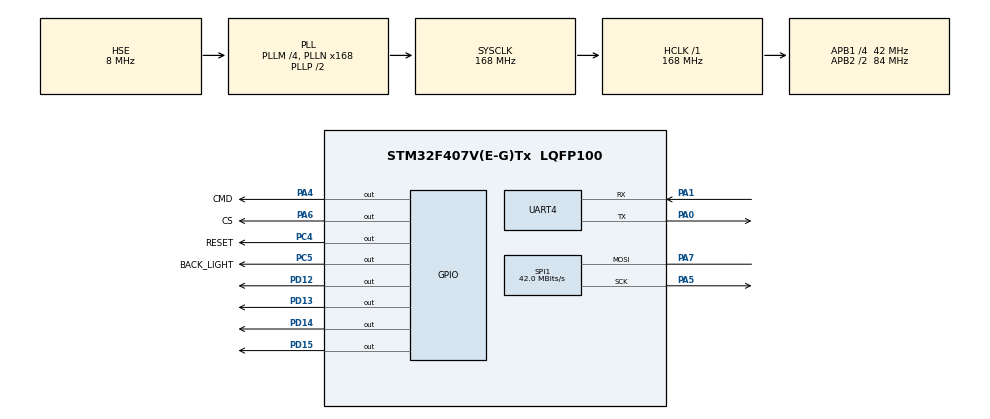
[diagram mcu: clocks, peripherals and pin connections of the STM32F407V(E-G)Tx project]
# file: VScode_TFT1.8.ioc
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Mcu.Family=STM32F4
Mcu.Name=STM32F407V(E-G)Tx
Mcu.Package=LQFP100
NVIC.PriorityGroup=NVIC_PRIORITYGROUP_4
PA0-WKUP.Mode=Asynchronous
PA0-WKUP.Signal=UART4_TX
PA1.Mode=Asynchronous
PA1.Signal=UART4_RX
PA13.Mode=Serial_Wire
PA13.Signal=SYS_JTMS-SWDIO
PA14.Mode=Serial_Wire
PA14.Signal=SYS_JTCK-SWCLK
PA4.GPIO_Label=CMD
PA4.GPIO_Speed=GPIO_SPEED_FREQ_LOW
PA4.Signal=GPIO_Output
PA5.Mode=Simplex_Bidirectional_Master
PA5.Signal=SPI1_SCK
PA6.GPIO_Label=CS
PA6.GPIO_Speed=GPIO_SPEED_FREQ_LOW
PA6.Signal=GPIO_Output
PA7.Mode=Simplex_Bidirectional_Master
PA7.Signal=SPI1_MOSI
PC4.GPIO_Label=RESET
PC4.Signal=GPIO_Output
PC5.GPIO_Label=BACK_LIGHT
PC5.Signal=GPIO_Output
PD12.Signal=GPIO_Output
PD13.Signal=GPIO_Output
PD14.Signal=GPIO_Output
PD15.Signal=GPIO_Output
PH0-OSC_IN.Mode=HSE-External-Oscillator
PH0-OSC_IN.Signal=RCC_OSC_IN
PH1-OSC_OUT.Mode=HSE-External-Oscillator
PH1-OSC_OUT.Signal=RCC_OSC_OUT
ProjectManager.HeapSize=0x200
ProjectManager.StackSize=0x400
ProjectManager.TargetToolchain=CMake
RCC.48MHZClocksFreq_Value=84000000
RCC.AHBFreq_Value=168000000
RCC.APB1CLKDivider=RCC_HCLK_DIV4
RCC.APB1Freq_Value=42000000
RCC.APB1TimFreq_Value=84000000
RCC.APB2CLKDivider=RCC_HCLK_DIV2
RCC.APB2Freq_Value=84000000
RCC.APB2TimFreq_Value=168000000
RCC.CortexFreq_Value=168000000
RCC.HCLKFreq_Value=168000000
RCC.HSE_VALUE=8000000
RCC.HSI_VALUE=16000000
RCC.LSE_VALUE=32768
RCC.PLLM=4
RCC.PLLN=168
RCC.PLLSourceVirtual=RCC_PLLSOURCE_HSE
RCC.SYSCLKFreq_VALUE=168000000
RCC.SYSCLKSource=RCC_SYSCLKSOURCE_PLLCLK
RCC.VCOOutputFreq_Value=336000000
SPI1.BaudRatePrescaler=SPI_BAUDRATEPRESCALER_2
SPI1.CalculateBaudRate=42.0 MBits/s
SPI1.Direction=SPI_DIRECTION_1LINE
SPI1.Mode=SPI_MODE_MASTER
SPI1.VirtualType=VM_MASTER
UART4.VirtualMode=Asynchronous
board=custom

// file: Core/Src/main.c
/* USER CODE BEGIN Header */
/**
  ******************************************************************************
  * @file           : main.c
  * @brief          : Main program body
  ******************************************************************************
  * @attention
  *
  * Copyright (c) 2024 STMicroelectronics.
  * All rights reserved.
  *
  * This software is licensed under terms that can be found in the LICENSE file
  * in the root directory of this software component.
  * If no LICENSE file comes with this software, it is provided AS-IS.
  *
  ******************************************************************************
  */
/* USER CODE END Header */
#include "main.h"
#include "lv_examples.h"

/* USER CODE BEGIN PD */
#define BYTE_PER_PIXEL (LV_COLOR_FORMAT_GET_SIZE(LV_COLOR_FORMAT_RGB888))
/* USER CODE END PD */

SPI_HandleTypeDef hspi1;

UART_HandleTypeDef huart4;

void SystemClock_Config(void);
static void MX_GPIO_Init(void);
static void MX_SPI1_Init(void);
static void MX_UART4_Init(void);
/* USER CODE BEGIN PFP */
void my_disp_flush(lv_display_t * disp, const lv_area_t * area, lv_color_t * color_p);
void lv_example_get_started_1(void);
/* USER CODE END PFP */

/* USER CODE BEGIN 0 */

 uint8_t color[PIC_SIZE];

 void my_disp_flush(lv_display_t * disp, const lv_area_t * area, lv_color_t * color_p) {

    uint32_t x, y;

    /*It's a very slow but simple implementation.
     *`set_pixel` needs to be written by you to a set pixel on the screen*/
    for(y = area->y1; y <= area->y2; y++) {
        for(x = area->x1; x <= area->x2; x++) {
            set_pixel(x, y, (uint8_t*)color_p);
            color_p++;
        }
    }

    lv_display_flush_ready(disp);         /* Indicate you are ready with the flushing*/
}

void lv_example_get_started_1(void)
{
    /*Change the active screen's background color*/
    lv_obj_set_style_bg_color(lv_screen_active(), lv_color_hex(0x573a00), LV_PART_MAIN);

    /*Create a white label, set its text and align it to the center*/
    lv_obj_t * label = lv_label_create(lv_screen_active());
    lv_label_set_text(label, "Hello world");
    lv_obj_set_style_text_color(lv_screen_active(), lv_color_hex(0xffffff), LV_PART_MAIN);
    lv_obj_align(label, LV_ALIGN_CENTER, 0, 0);
}

void lv_example_get_started_4(void)
{
    /*Create a slider in the center of the display*/
    lv_obj_t * label = lv_label_create(lv_screen_active());
    lv_obj_t * slider = lv_slider_create(lv_screen_active());
    lv_obj_set_width(slider, 100);                          /*Set the width*/
    lv_obj_center(slider);                                  /*Align to the center of the parent (screen)*/
    //lv_obj_add_event_cb(slider, slider_event_cb, LV_EVENT_VALUE_CHANGED, NULL);     /*Assign an event function*/

    /*Create a label above the slider*/
    label = lv_label_create(lv_screen_active());
    lv_label_set_text(label, "0");
    lv_obj_align_to(label, slider, LV_ALIGN_OUT_TOP_MID, 0, -15);    /*Align top of the slider*/
}
/* USER CODE END 0 */

int main(void)
{

  /* MCU Configuration--------------------------------------------------------*/

  /* Reset of all peripherals, Initializes the Flash interface and the Systick. */
  HAL_Init();

  /* Configure the system clock */
  SystemClock_Config();

  /* Initialize all configured peripherals */
  MX_GPIO_Init();
  MX_SPI1_Init();
  MX_UART4_Init();
  /* USER CODE BEGIN 2 */

  display_init();

  lv_init();
  void (*my_disp_flush_ptr) (lv_display_t * disp, const lv_area_t * area, lv_color_t * color_p);
  my_disp_flush_ptr = my_disp_flush;

  lv_display_t *display = lv_display_create(132,162);
  static uint8_t buf1[120 * 160 / 10 * BYTE_PER_PIXEL];
  lv_display_set_buffers(display, buf1, NULL, sizeof(buf1), LV_DISPLAY_RENDER_MODE_PARTIAL);  /* Initialize the display buffer. */
  lv_display_set_flush_cb(display, my_disp_flush_ptr);

  lv_example_get_started_4();

  /* USER CODE END 2 */

  /* Infinite loop */
  /* USER CODE BEGIN WHILE */
  while (1)
  {
    HAL_Delay(5);
    lv_timer_handler();

    /* USER CODE END WHILE */

  }
}

void SystemClock_Config(void)
{
  RCC_OscInitTypeDef RCC_OscInitStruct = {0};
  RCC_ClkInitTypeDef RCC_ClkInitStruct = {0};

  /** Configure the main internal regulator output voltage
  */
  __HAL_RCC_PWR_CLK_ENABLE();
  __HAL_PWR_VOLTAGESCALING_CONFIG(PWR_REGULATOR_VOLTAGE_SCALE1);

  /** Initializes the RCC Oscillators according to the specified parameters
  * in the RCC_OscInitTypeDef structure.
  */
  RCC_OscInitStruct.OscillatorType = RCC_OSCILLATORTYPE_HSE;
  RCC_OscInitStruct.HSEState = RCC_HSE_ON;
  RCC_OscInitStruct.PLL.PLLState = RCC_PLL_ON;
  RCC_OscInitStruct.PLL.PLLSource = RCC_PLLSOURCE_HSE;
  RCC_OscInitStruct.PLL.PLLM = 4;
  RCC_OscInitStruct.PLL.PLLN = 168;
  RCC_OscInitStruct.PLL.PLLP = RCC_PLLP_DIV2;
  RCC_OscInitStruct.PLL.PLLQ = 4;
  if (HAL_RCC_OscConfig(&RCC_OscInitStruct) != HAL_OK)
  {
    Error_Handler();
  }

  /** Initializes the CPU, AHB and APB buses clocks
  */
  RCC_ClkInitStruct.ClockType = RCC_CLOCKTYPE_HCLK|RCC_CLOCKTYPE_SYSCLK
                              |RCC_CLOCKTYPE_PCLK1|RCC_CLOCKTYPE_PCLK2;
  RCC_ClkInitStruct.SYSCLKSource = RCC_SYSCLKSOURCE_PLLCLK;
  RCC_ClkInitStruct.AHBCLKDivider = RCC_SYSCLK_DIV1;
  RCC_ClkInitStruct.APB1CLKDivider = RCC_HCLK_DIV4;
  RCC_ClkInitStruct.APB2CLKDivider = RCC_HCLK_DIV2;

  if (HAL_RCC_ClockConfig(&RCC_ClkInitStruct, FLASH_LATENCY_5) != HAL_OK)
  {
    Error_Handler();
  }
}

static void MX_SPI1_Init(void)
{

  /* SPI1 parameter configuration*/
  hspi1.Instance = SPI1;
  hspi1.Init.Mode = SPI_MODE_MASTER;
  hspi1.Init.Direction = SPI_DIRECTION_1LINE;
  hspi1.Init.DataSize = SPI_DATASIZE_8BIT;
  hspi1.Init.CLKPolarity = SPI_POLARITY_LOW;
  hspi1.Init.CLKPhase = SPI_PHASE_1EDGE;
  hspi1.Init.NSS = SPI_NSS_SOFT;
  hspi1.Init.BaudRatePrescaler = SPI_BAUDRATEPRESCALER_2;
  hspi1.Init.FirstBit = SPI_FIRSTBIT_MSB;
  hspi1.Init.TIMode = SPI_TIMODE_DISABLE;
  hspi1.Init.CRCCalculation = SPI_CRCCALCULATION_DISABLE;
  hspi1.Init.CRCPolynomial = 10;
  if (HAL_SPI_Init(&hspi1) != HAL_OK)
  {
    Error_Handler();
  }

}

static void MX_UART4_Init(void)
{

  huart4.Instance = UART4;
  huart4.Init.BaudRate = 115200;
  huart4.Init.WordLength = UART_WORDLENGTH_8B;
  huart4.Init.StopBits = UART_STOPBITS_1;
  huart4.Init.Parity = UART_PARITY_NONE;
  huart4.Init.Mode = UART_MODE_TX_RX;
  huart4.Init.HwFlowCtl = UART_HWCONTROL_NONE;
  huart4.Init.OverSampling = UART_OVERSAMPLING_16;
  if (HAL_UART_Init(&huart4) != HAL_OK)
  {
    Error_Handler();
  }

}

static void MX_GPIO_Init(void)
{
  GPIO_InitTypeDef GPIO_InitStruct = {0};

  /* GPIO Ports Clock Enable */
  __HAL_RCC_GPIOH_CLK_ENABLE();
  __HAL_RCC_GPIOA_CLK_ENABLE();
  __HAL_RCC_GPIOC_CLK_ENABLE();
  __HAL_RCC_GPIOD_CLK_ENABLE();

  /*Configure GPIO pin Output Level */
  HAL_GPIO_WritePin(GPIOA, CMD_Pin|CS_Pin, GPIO_PIN_RESET);

  /*Configure GPIO pin Output Level */
  HAL_GPIO_WritePin(GPIOC, RESET_Pin|BACK_LIGHT_Pin, GPIO_PIN_RESET);

  /*Configure GPIO pin Output Level */
  HAL_GPIO_WritePin(GPIOD, GPIO_PIN_12|GPIO_PIN_13|GPIO_PIN_14|GPIO_PIN_15, GPIO_PIN_RESET);

  /*Configure GPIO pins : CMD_Pin CS_Pin */
  GPIO_InitStruct.Pin = CMD_Pin|CS_Pin;
  GPIO_InitStruct.Mode = GPIO_MODE_OUTPUT_PP;
  GPIO_InitStruct.Pull = GPIO_NOPULL;
  GPIO_InitStruct.Speed = GPIO_SPEED_FREQ_LOW;
  HAL_GPIO_Init(GPIOA, &GPIO_InitStruct);

  /*Configure GPIO pins : RESET_Pin BACK_LIGHT_Pin */
  GPIO_InitStruct.Pin = RESET_Pin|BACK_LIGHT_Pin;
  GPIO_InitStruct.Mode = GPIO_MODE_OUTPUT_PP;
  GPIO_InitStruct.Pull = GPIO_NOPULL;
  GPIO_InitStruct.Speed = GPIO_SPEED_FREQ_LOW;
  HAL_GPIO_Init(GPIOC, &GPIO_InitStruct);

  /*Configure GPIO pins : PD12 PD13 PD14 PD15 */
  GPIO_InitStruct.Pin = GPIO_PIN_12|GPIO_PIN_13|GPIO_PIN_14|GPIO_PIN_15;
  GPIO_InitStruct.Mode = GPIO_MODE_OUTPUT_PP;
  GPIO_InitStruct.Pull = GPIO_NOPULL;
  GPIO_InitStruct.Speed = GPIO_SPEED_FREQ_LOW;
  HAL_GPIO_Init(GPIOD, &GPIO_InitStruct);

}

void Error_Handler(void)
{
  __disable_irq();
  while (1)
  {
  }
}
